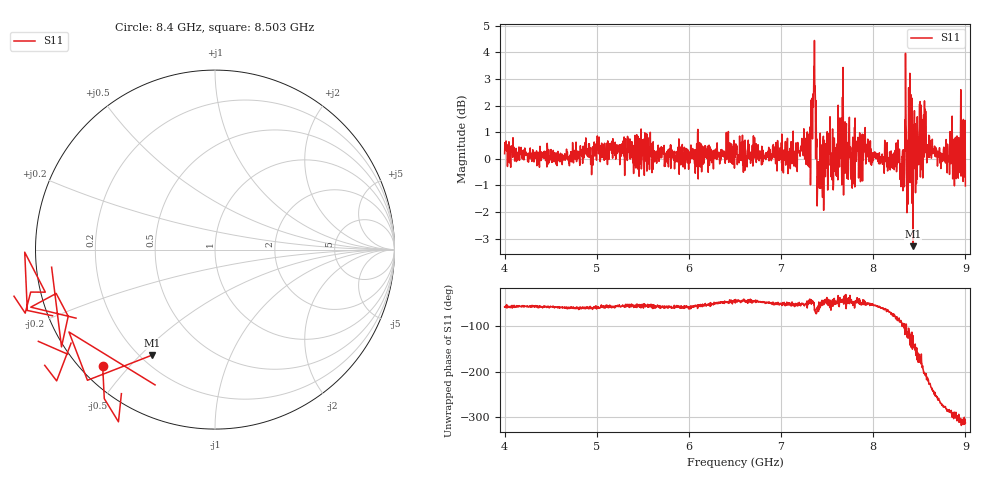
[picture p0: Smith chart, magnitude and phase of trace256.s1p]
! Created with skrf 1.8.0 (http://scikit-rf.org).
# Hz S RI R 50.0
!freq ReS11 ImS11
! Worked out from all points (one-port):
!   1601 points, 4 GHz to 9 GHz, reference 50 ohm
!   lowest |S11| = -3.3 dB at 8.431 GHz (marker M1), VSWR 5.35, Z = 12.2 - j27.1 ohm
!   |S11| at or under -10 dB: nowhere
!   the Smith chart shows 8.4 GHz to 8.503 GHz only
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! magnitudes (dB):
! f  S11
! 4 GHz  0.2
! 4.625 GHz  -0.2
! 5.25 GHz  -0.2
! 5.875 GHz  0.1
! 6.5 GHz  0.3
! 7.125 GHz  0.6
! 7.297 GHz  0.9
! 7.356 GHz  3.5
! 7.412 GHz  -0.7
! 7.509 GHz  -0.2
! 7.591 GHz  0.4
! 7.662 GHz  -0.5
! 7.75 GHz  0.1
! 8.262 GHz  -0.2
! 8.316 GHz  0.1
! 8.334 GHz  -0.4
! 8.356 GHz  1.2
! 8.375 GHz  -1.7
! 8.384 GHz  2.7
! 8.394 GHz  0.3
! 8.431 GHz  -3.3
! 8.447 GHz  1.8
! 8.497 GHz  0.9
! 8.544 GHz  0.8
! 8.606 GHz  0.1
! 8.803 GHz  -0.5
! 8.972 GHz  0.4
! 9 GHz  -1.0
